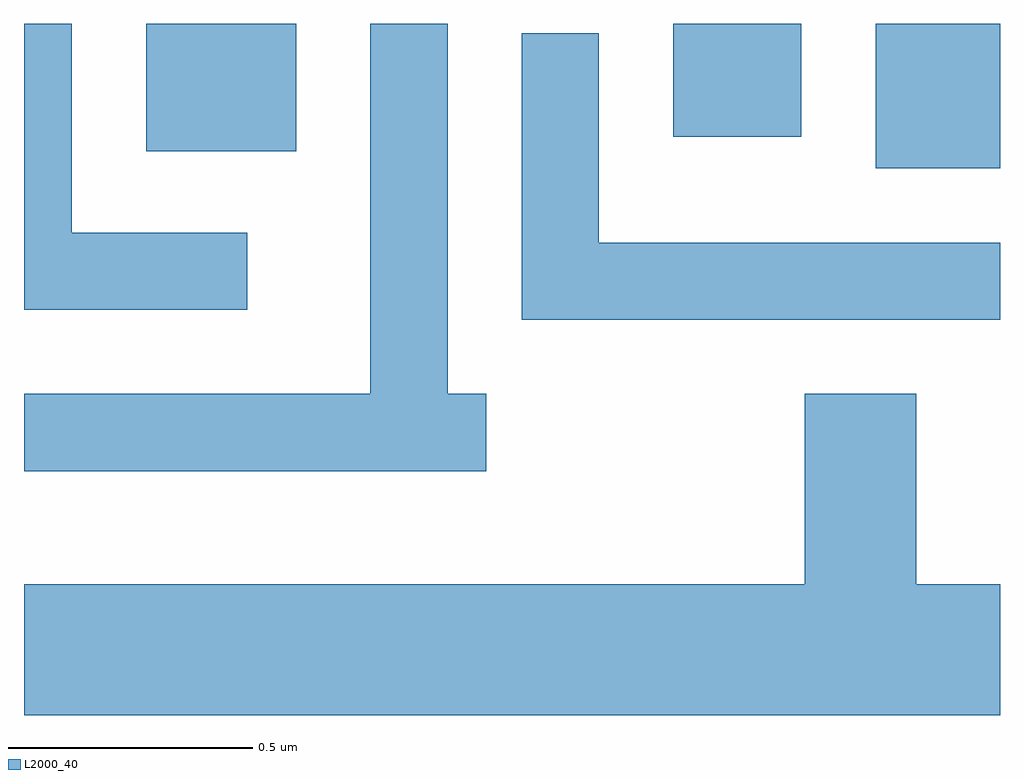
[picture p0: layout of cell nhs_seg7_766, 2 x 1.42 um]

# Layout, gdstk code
import gdstk
lib = gdstk.Library(unit=1e-6, precision=1e-09)
def R(c, l, rs):  # rectangles x0, y0, x1, y1
    for r in rs: c.add(gdstk.rectangle(r[:2], r[2:], *l))
def P(c, l, *ps):  # polygons
    for p in ps: c.add(gdstk.Polygon(p, *l))
L2000_40 = (2000, 40)

nhs_seg7_766 = lib.new_cell('nhs_seg7_766')
R(nhs_seg7_766, L2000_40, [(192.356,1750.956,192.611,1751.252), (190.861,1750.991,191.169,1751.252), (191.941,1751.021,192.204,1751.252)])
P(nhs_seg7_766, L2000_40, [(191.558,1750.494),(191.479,1750.494),(191.479,1751.252),(191.321,1751.252),(191.321,1750.494),(190.611,1750.494),(190.611,1750.336),(191.558,1750.336)],
  [(191.068,1750.824),(190.709,1750.824),(190.709,1751.252),(190.611,1751.252),(190.611,1750.666),(191.068,1750.666)],
  [(192.611,1750.804),(191.789,1750.804),(191.789,1751.233),(191.631,1751.233),(191.631,1750.646),(192.611,1750.646)],
  [(192.611,1750.104),(192.439,1750.104),(192.439,1750.494),(192.211,1750.494),(192.211,1750.104),(190.611,1750.104),(190.611,1749.836),(192.611,1749.836)])

lib.write_gds('nhs_seg7_766.gds')
